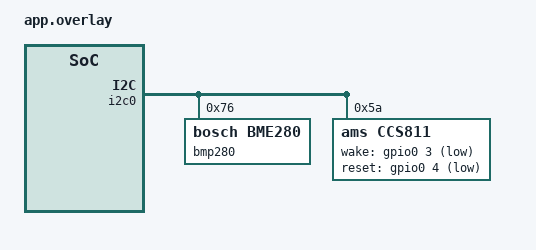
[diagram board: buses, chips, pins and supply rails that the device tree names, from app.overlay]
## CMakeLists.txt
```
# SPDX-License-Identifier: Apache-2.0

cmake_minimum_required(VERSION 3.20.0)
find_package(Zephyr REQUIRED HINTS $ENV{ZEPHYR_BASE})
project(app)

FILE(GLOB app_sources src/*.c)
target_sources(app PRIVATE ${app_sources})
target_include_directories(app PRIVATE ${ZEPHYR_BASE}/subsys/net/ip)

# Generate includes from .der files
generate_inc_file_for_target(
    app 
    certs/cert-pem.der
    certs/cert-pem.der.inc
)

generate_inc_file_for_target(
    app 
    certs/key-pem.der
    certs/key-pem.der.inc
)
```

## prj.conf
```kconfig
# Generic networking options
CONFIG_NETWORKING=y
CONFIG_REQUIRES_FULL_LIBC=y
CONFIG_NET_IPV4=y
CONFIG_NET_UDP=y

CONFIG_NET_SOCKETS=y
CONFIG_ZVFS_POLL_MAX=4
CONFIG_POSIX_API=y

CONFIG_COAP=y

# Kernel options
CONFIG_ENTROPY_GENERATOR=y
CONFIG_TEST_RANDOM_GENERATOR=y
CONFIG_MAIN_STACK_SIZE=8192

# Logging
CONFIG_PRINTK=y
CONFIG_NET_LOG=y
CONFIG_LOG_BUFFER_SIZE=32768
# CONFIG_MBEDTLS_DEBUG=y
# CONFIG_MBEDTLS_LOG_LEVEL_DBG=y

# Network Shell
CONFIG_NET_SHELL=y

CONFIG_NET_CONFIG_SETTINGS=y
CONFIG_NET_CONFIG_NEED_IPV4=n
CONFIG_NET_CONFIG_PEER_IPV4_ADDR="192.168.1.134"

CONFIG_HEAP_MEM_POOL_SIZE=16384

CONFIG_NET_PKT_RX_COUNT=32
CONFIG_NET_PKT_TX_COUNT=16
CONFIG_NET_BUF_RX_COUNT=64
CONFIG_NET_BUF_TX_COUNT=32
CONFIG_NET_BUF_DATA_SIZE=512

CONFIG_MDNS_RESOLVER=n

CONFIG_NET_SOCKETS_DNS_TIMEOUT=5000
CONFIG_DNS_SERVER1="8.8.8.8"
# Enable the DNS resolver
CONFIG_DNS_RESOLVER=y
# Enable additional buffers
CONFIG_DNS_RESOLVER_ADDITIONAL_BUF_CTR=5
# Enable additional queries
CONFIG_DNS_RESOLVER_ADDITIONAL_QUERIES=2
# Enable mDNS support
CONFIG_MDNS_RESOLVER=y
# Enable LLMNR support
CONFIG_LLMNR_RESOLVER=n
CONFIG_DNS_RESOLVER_MAX_SERVERS=2
CONFIG_DNS_SERVER_IP_ADDRESSES=y
CONFIG_DNS_NUM_CONCUR_QUERIES=5

CONFIG_WIFI=y
CONFIG_NET_L2_WIFI_SHELL=y
CONFIG_NET_CONNECTION_MANAGER=y

CONFIG_ZVFS_POLL_MAX=5

CONFIG_NET_DHCPV4=y

CONFIG_COAP_EXTENDED_OPTIONS_LEN=y
CONFIG_COAP_EXTENDED_OPTIONS_LEN_VALUE=24

CONFIG_I2C=y
CONFIG_I2C_SHELL=y
CONFIG_SENSOR=y

# DTLS support
CONFIG_NET_SOCKETS_SOCKOPT_TLS=y
CONFIG_NET_SOCKETS_ENABLE_DTLS=y
CONFIG_MBEDTLS=y
CONFIG_MBEDTLS_BUILTIN=y
CONFIG_MBEDTLS_ENABLE_HEAP=y
CONFIG_MBEDTLS_HEAP_SIZE=60000
CONFIG_MBEDTLS_SSL_MAX_CONTENT_LEN=6144
CONFIG_MBEDTLS_KEY_EXCHANGE_ECDHE_ECDSA_ENABLED=y
CONFIG_MBEDTLS_ECDSA_C=y
CONFIG_MBEDTLS_KEY_EXCHANGE_ECDHE_RSA_ENABLED=y
CONFIG_MBEDTLS_ECP_DP_SECP256R1_ENABLED=y
CONFIG_MBEDTLS_ECP_DP_SECP384R1_ENABLED=y
CONFIG_MBEDTLS_SHA1=y
CONFIG_MBEDTLS_SHA384=y
CONFIG_MBEDTLS_SHA512=y
CONFIG_TLS_CREDENTIAL_FILENAMES=n
CONFIG_MBEDTLS_ECP_C=y
CONFIG_MBEDTLS_ECP_NIST_OPTIM=y
CONFIG_MBEDTLS_ECDH_C=y
CONFIG_MBEDTLS_SERVER_NAME_INDICATION=y
CONFIG_MBEDTLS_CIPHER_AES_ENABLED=y
CONFIG_MBEDTLS_CIPHER_GCM_ENABLED=y
CONFIG_MBEDTLS_CIPHER_CCM_ENABLED=y
CONFIG_MBEDTLS_SSL_EXTENDED_MASTER_SECRET=y
```

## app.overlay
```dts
&pinctrl {
    i2c0_custom: i2c0_custom {
        group1 {
            pinmux = <I2C0_SDA_P20>, <I2C0_SCL_P21>;
            input-enable;
            input-schmitt-enable;
        };
    };
};

&i2c0 {
    status = "okay";
    pinctrl-0 = <&i2c0_custom>;
    pinctrl-names = "default";

    bmp280@76 {
        compatible = "bosch,bme280";
        reg = <0x76>;
    };

    ccs811@5a {
        compatible = "ams,ccs811";
        reg = <0x5a>;
        wake-gpios = <&gpio0 3 GPIO_ACTIVE_LOW>;
        reset-gpios = <&gpio0 4 GPIO_ACTIVE_LOW>;
    };
};
```

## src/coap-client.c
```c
/*
 * Copyright (c) 2018 Intel Corporation
 *
 * SPDX-License-Identifier: Apache-2.0
 */

#include <zephyr/logging/log.h>
LOG_MODULE_REGISTER(net_coap_client_sample, LOG_LEVEL_DBG);

#include <errno.h>
#include <zephyr/sys/printk.h>
#include <zephyr/sys/byteorder.h>
#include <zephyr/kernel.h>

#include <zephyr/posix/poll.h>
#include <zephyr/posix/sys/socket.h>
#include <zephyr/posix/arpa/inet.h>
#include <zephyr/posix/unistd.h>

#include <zephyr/net/socket.h>
#include <zephyr/net/net_mgmt.h>
#include <zephyr/net/net_ip.h>
#include <zephyr/net/net_event.h>
#include <zephyr/net/udp.h>
#include <zephyr/net/coap.h>
#include <zephyr/net/tls_credentials.h>
#include <zephyr/net/conn_mgr_connectivity.h>
#include <zephyr/net/conn_mgr_monitor.h>

#include <zephyr/device.h>
#include <zephyr/devicetree.h>
#include <zephyr/drivers/sensor.h>

#include "net_private.h"
#include "credentials.h"

#define MAX_COAP_MSG_LEN 256

#define THINGSBOARD_HOST "coap.eu.thingsboard.cloud"

static const struct device *bmp280 = DEVICE_DT_GET_ANY(bosch_bme280);
static const struct device *ccs811 = DEVICE_DT_GET_ANY(ams_ccs811);
static const struct device *bmm150 = DEVICE_DT_GET_ANY(bosch_bmm150);

static K_SEM_DEFINE(net_ready, 0, 1);
static struct net_mgmt_event_callback net_l4_cb;

/* CoAP socket fd */
static int sock;

struct pollfd fds[1];
static int nfds;

/* CoAP URI path: /api/v1/telemetry (X.509 auth, no token needed) */
static const char * const telemetry_path[] = {
	"api", "v1", "telemetry", NULL
};

static void wait(void)
{
	if (poll(fds, nfds, -1) < 0) {
		LOG_ERR("Error in poll:%d", errno);
	}
}

static void prepare_fds(void)
{
	fds[nfds].fd = sock;
	fds[nfds].events = POLLIN;
	nfds++;
}

static int setup_credentials(void)
{
	int ret;

	ret = tls_credential_add(2,
				 TLS_CREDENTIAL_CA_CERTIFICATE,
				 ca_cert, sizeof(ca_cert));
	if (ret < 0) {
		LOG_ERR("Failed to add CA cert: %d", ret);
		return ret;
	}

	ret = tls_credential_add(CLIENT_CERT_TAG,
				 TLS_CREDENTIAL_PUBLIC_CERTIFICATE,
				 client_cert, sizeof(client_cert));
	if (ret < 0) {
		LOG_ERR("Failed to add client cert: %d", ret);
		return ret;
	}

	ret = tls_credential_add(CLIENT_CERT_TAG,
				 TLS_CREDENTIAL_PRIVATE_KEY,
				 client_key, sizeof(client_key));
	if (ret < 0) {
		LOG_ERR("Failed to add client key: %d", ret);
		return ret;
	}

	return 0;
}

static int start_coap_client(void)
{
	int ret;
	struct zsock_addrinfo hints = {0};
	struct zsock_addrinfo *addr;

	hints.ai_family = AF_INET;
	hints.ai_socktype = SOCK_DGRAM;
	hints.ai_protocol = IPPROTO_DTLS_1_2;

	ret = zsock_getaddrinfo(THINGSBOARD_HOST, "5684",
				&hints, &addr);
	if (ret) {
		LOG_ERR("Failed to resolve %s: %d", THINGSBOARD_HOST, ret);
		return -EINVAL;
	}

	sock = socket(AF_INET, SOCK_DGRAM, IPPROTO_DTLS_1_2);
	if (sock < 0) {
		LOG_ERR("Failed to create DTLS socket %d", errno);
		zsock_freeaddrinfo(addr);
		return -errno;
	}

	sec_tag_t sec_tag_list[] = { CA_CERT_TAG };

	ret = setsockopt(sock, SOL_TLS, TLS_SEC_TAG_LIST,
			 sec_tag_list, sizeof(sec_tag_list));
	if (ret < 0) {
		LOG_ERR("Failed to set TLS_SEC_TAG_LIST: %d", errno);
		zsock_freeaddrinfo(addr);
		return -errno;
	}

	int verify = TLS_PEER_VERIFY_OPTIONAL;
	ret = setsockopt(sock, SOL_TLS, TLS_PEER_VERIFY,
			 &verify, sizeof(verify));
	if (ret < 0) {
		LOG_ERR("Failed to set TLS_PEER_VERIFY: %d", errno);
		zsock_freeaddrinfo(addr);
		return -errno;
	}

	ret = setsockopt(sock, SOL_TLS, TLS_HOSTNAME,
			 THINGSBOARD_HOST, sizeof(THINGSBOARD_HOST));
	if (ret < 0) {
		LOG_ERR("Failed to set TLS_HOSTNAME: %d", errno);
		zsock_freeaddrinfo(addr);
		return -errno;
	}

	/* Explicitly set cipher suites supported by Californium/Scandium */
	int ciphersuites[] = {
		0xC02B,  /* TLS_ECDHE_ECDSA_WITH_AES_128_GCM_SHA256 */
		0xC0AE,  /* TLS_ECDHE_ECDSA_WITH_AES_128_CCM_8 */
		0xC0AC,  /* TLS_ECDHE_ECDSA_WITH_AES_128_CCM */
		0xC02F,  /* TLS_ECDHE_RSA_WITH_AES_128_GCM_SHA256 */
	};

	ret = setsockopt(sock, SOL_TLS, TLS_CIPHERSUITE_LIST,
			 ciphersuites, sizeof(ciphersuites));
	if (ret < 0) {
		LOG_ERR("Failed to set TLS_CIPHERSUITE_LIST: %d", errno);
		zsock_freeaddrinfo(addr);
		return -errno;
	}

	ret = connect(sock, addr->ai_addr, addr->ai_addrlen);
	zsock_freeaddrinfo(addr);
	if (ret < 0) {
		LOG_ERR("Cannot connect to DTLS remote: %d", errno);
		return -errno;
	}

	prepare_fds();

	return 0;
}

static int process_coap_reply(void)
{
	struct coap_packet reply;
	uint8_t *data;
	int rcvd;
	int ret;

	wait();

	data = (uint8_t *)k_malloc(MAX_COAP_MSG_LEN);
	if (!data) {
		return -ENOMEM;
	}

	rcvd = recv(sock, data, MAX_COAP_MSG_LEN, MSG_DONTWAIT);
	if (rcvd == 0) {
		ret = -EIO;
		goto end;
	}

	if (rcvd < 0) {
		if (errno == EAGAIN || errno == EWOULDBLOCK) {
			ret = 0;
		} else {
			ret = -errno;
		}

		goto end;
	}

	net_hexdump("Response", data, rcvd);

	ret = coap_packet_parse(&reply, data, rcvd, NULL, 0);
	if (ret < 0) {
		LOG_ERR("Invalid data received");
	}

end:
	k_free(data);

	return ret;
}

static int send_telemetry(const char *json_payload)
{
	struct coap_packet request;
	const char * const *p;
	uint8_t *data;
	int r;

	data = (uint8_t *)k_malloc(MAX_COAP_MSG_LEN);
	if (!data) {
		return -ENOMEM;
	}

	r = coap_packet_init(&request, data, MAX_COAP_MSG_LEN,
			     COAP_VERSION_1, COAP_TYPE_CON,
			     COAP_TOKEN_MAX_LEN, coap_next_token(),
			     COAP_METHOD_POST, coap_next_id());
	if (r < 0) {
		LOG_ERR("Failed to init CoAP message");
		goto end;
	}

	/* Content-Format: application/json */
	r = coap_append_option_int(&request, COAP_OPTION_CONTENT_FORMAT,
				   COAP_CONTENT_FORMAT_APP_JSON);
	if (r < 0) {
		LOG_ERR("Unable to add content format option");
		goto end;
	}

	for (p = telemetry_path; p && *p; p++) {
		r = coap_packet_append_option(&request, COAP_OPTION_URI_PATH,
					      *p, strlen(*p));
		if (r < 0) {
			LOG_ERR("Unable add option to request");
			goto end;
		}
	}

	r = coap_packet_append_payload_marker(&request);
	if (r < 0) {
		LOG_ERR("Unable to append payload marker");
		goto end;
	}

	r = coap_packet_append_payload(&request, (uint8_t *)json_payload,
				       strlen(json_payload));
	if (r < 0) {
		LOG_ERR("Not able to append payload");
		goto end;
	}

	net_hexdump("Request", request.data, request.offset);

	r = send(sock, request.data, request.offset, 0);

end:
	k_free(data);

	return r;
}

static void net_event_handler(struct net_mgmt_event_callback *cb,
			      uint64_t mgmt_event, struct net_if *iface)
{
	if (mgmt_event == NET_EVENT_IPV4_ADDR_ADD) {
		LOG_INF("Network connected");
		k_sem_give(&net_ready);
	}
}

int main(void)
{
	int r;
	struct sensor_value temp;
	struct sensor_value press;
	struct sensor_value co2;
	struct sensor_value tvoc;
	struct sensor_value magn_x, magn_y, magn_z;
	bool ccs811_ok;
	bool bmm150_ok;
	char json_buf[512];

	LOG_DBG("Start CoAP-client sample");

	if (!device_is_ready(bmp280)) {
		LOG_ERR("BMP280 device not ready");
		return 0;
	}

	ccs811_ok = device_is_ready(ccs811);
	if (!ccs811_ok) {
		LOG_WRN("CCS811 device not ready, continuing without it");
	}

	bmm150_ok = device_is_ready(bmm150);
	if (!bmm150_ok) {
		LOG_WRN("BMM150 device not ready, continuing without it");
	}

	net_mgmt_init_event_callback(&net_l4_cb, net_event_handler,
		NET_EVENT_IPV4_ADDR_ADD);
	net_mgmt_add_event_callback(&net_l4_cb);

	LOG_INF("Waiting for network connection...");
	k_sem_take(&net_ready, K_FOREVER);

	r = setup_credentials();
	if (r < 0) {
		goto quit;
	}

	r = start_coap_client();
	if (r < 0) {
		goto quit;
	}

	while (1) {
		r = sensor_sample_fetch(bmp280);
		if (r < 0) {
			LOG_ERR("Failed to fetch sensor sample: %d", r);
			k_sleep(K_SECONDS(5));
			continue;
		}

		r = sensor_channel_get(bmp280, SENSOR_CHAN_AMBIENT_TEMP, &temp);
		if (r < 0) {
			LOG_ERR("Failed to get temperature: %d", r);
			k_sleep(K_SECONDS(5));
			continue;
		}

		r = sensor_channel_get(bmp280, SENSOR_CHAN_PRESS, &press);
		if (r < 0) {
			LOG_ERR("Failed to get pressure: %d", r);
			k_sleep(K_SECONDS(5));
			continue;
		}

		int off = snprintf(json_buf, sizeof(json_buf),
				   "{\"temperature\": %d.%02d, \"pressure\": %d.%02d",
				   temp.val1, temp.val2 / 10000,
				   press.val1, press.val2 / 10000);

		if (ccs811_ok &&
		    sensor_sample_fetch(ccs811) == 0 &&
		    sensor_channel_get(ccs811, SENSOR_CHAN_CO2, &co2) == 0 &&
		    sensor_channel_get(ccs811, SENSOR_CHAN_VOC, &tvoc) == 0) {
			off += snprintf(json_buf + off, sizeof(json_buf) - off,
					", \"co2\": %d, \"tvoc\": %d",
					co2.val1, tvoc.val1);
		}

		if (bmm150_ok &&
		    sensor_sample_fetch(bmm150) == 0 &&
		    sensor_channel_get(bmm150, SENSOR_CHAN_MAGN_X, &magn_x) == 0 &&
		    sensor_channel_get(bmm150, SENSOR_CHAN_MAGN_Y, &magn_y) == 0 &&
		    sensor_channel_get(bmm150, SENSOR_CHAN_MAGN_Z, &magn_z) == 0) {
			off += snprintf(json_buf + off, sizeof(json_buf) - off,
					", \"magn_x\": %d.%06d, \"magn_y\": %d.%06d, \"magn_z\": %d.%06d",
					magn_x.val1, magn_x.val2,
					magn_y.val1, magn_y.val2,
					magn_z.val1, magn_z.val2);
		}

		snprintf(json_buf + off, sizeof(json_buf) - off, "}");

		printk("\nSending telemetry: %s\n", json_buf);
		r = send_telemetry(json_buf);
		if (r < 0) {
			LOG_ERR("Failed to send telemetry: %d", r);
			goto quit;
		}

		r = process_coap_reply();
		if (r < 0) {
			LOG_ERR("Failed to process reply: %d", r);
			goto quit;
		}

		k_sleep(K_SECONDS(5));
	}

quit:
	(void)close(sock);

	LOG_ERR("quit");
	return 0;
}
```

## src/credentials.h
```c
#ifndef CREDENTIALS_H
#define CREDENTIALS_H

#define CA_CERT_TAG 1
#define CLIENT_CERT_TAG 1  /* same tag -- cert + key are a pair */

static const unsigned char ca_cert[] = {
#include "../certs/ca-cert.der.inc"
};

static const unsigned char client_cert[] = {
#include "../certs/cert-pem.der.inc"
};

static const unsigned char client_key[] = {
#include "../certs/key-pem.der.inc"
};

#endif
```
